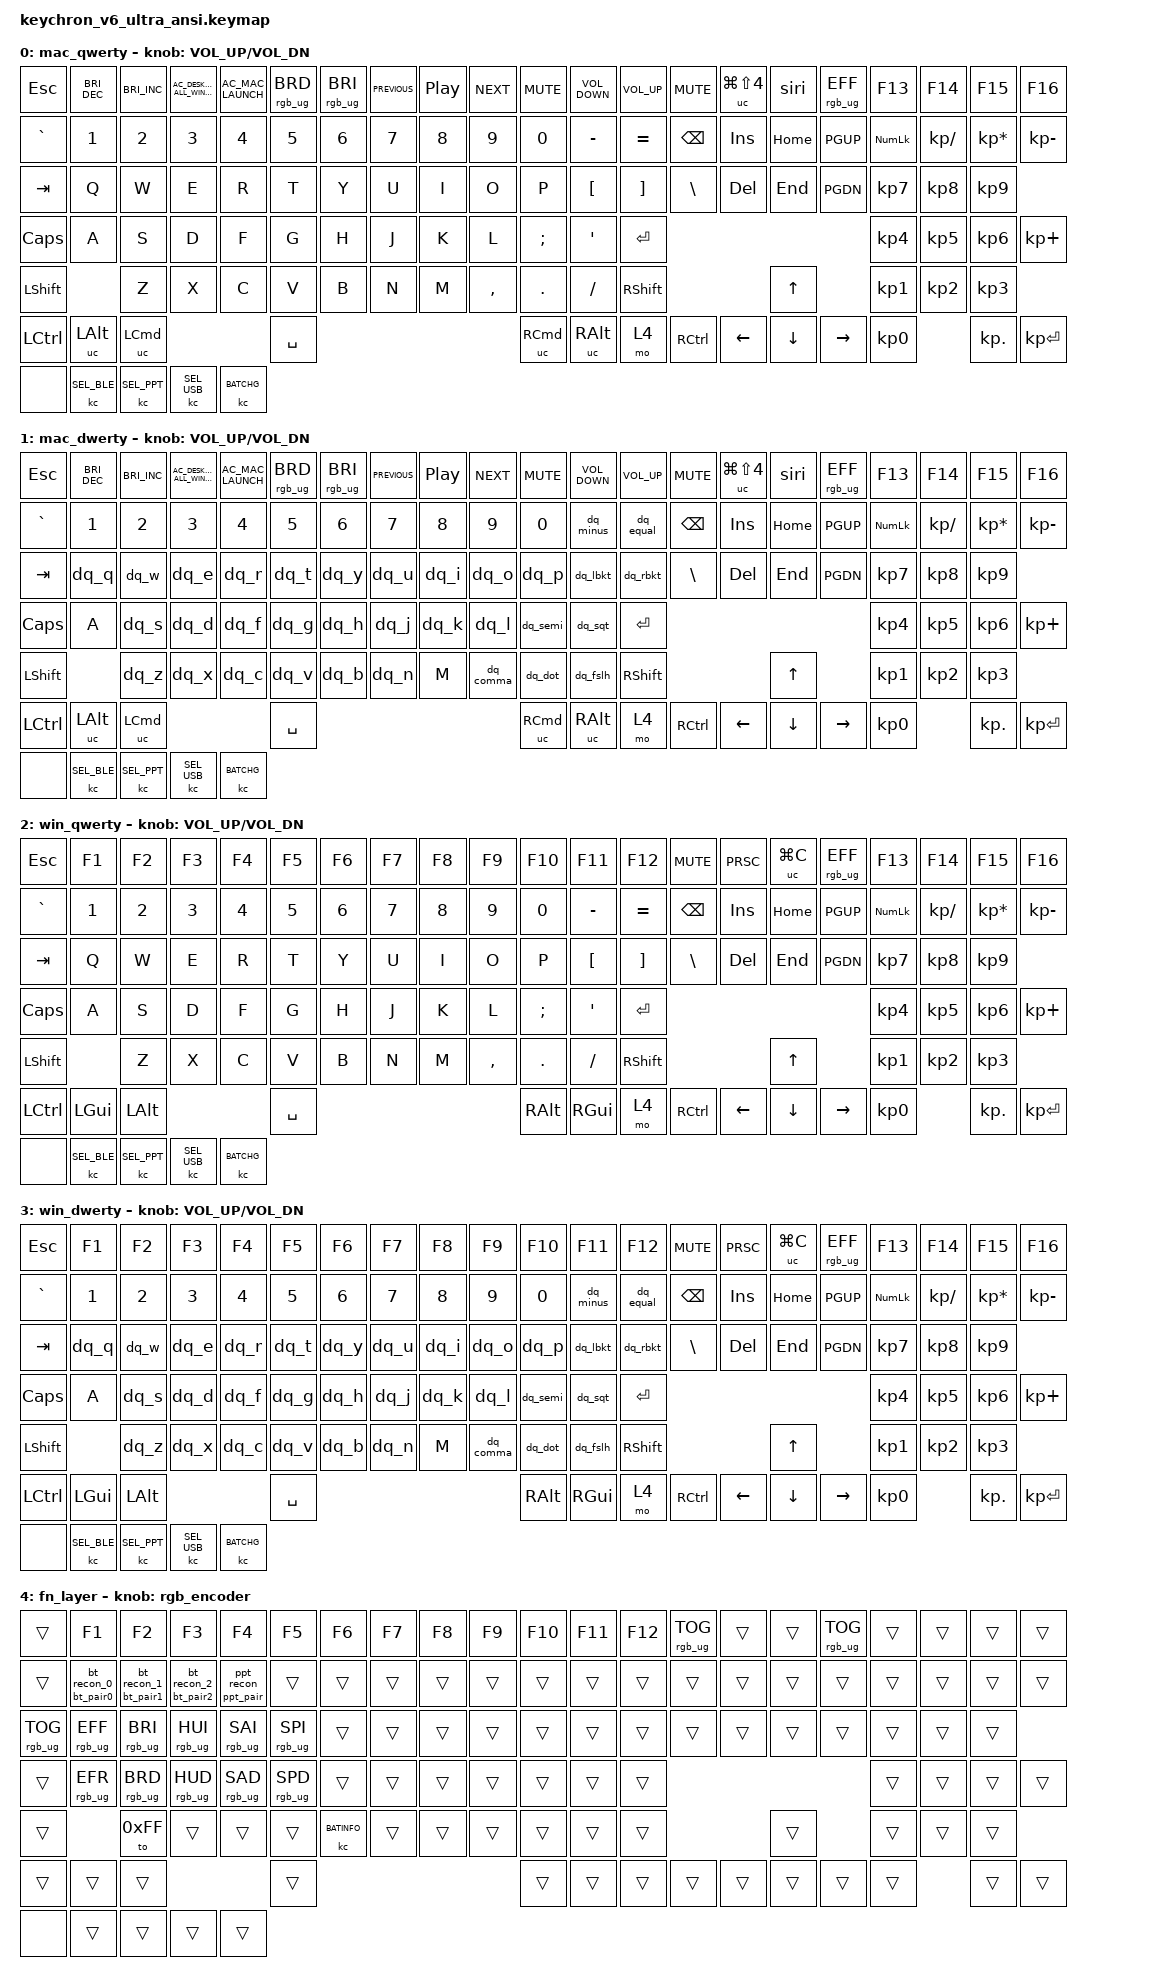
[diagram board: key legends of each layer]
/*
 * Copyright (c) 2023 The ZMK Contributors
 *
 * SPDX-License-Identifier: MIT
 */

#include <behaviors.dtsi>
#include <dt-bindings/zmk/bt.h>
#include <dt-bindings/zmk/keys.h>
#include <dt-bindings/zmk/rgb.h>
#include <dt-bindings/zmk/bt.h>
#include <dt-bindings/zmk/outputs.h>
#include <dt-bindings/zmk/keychron.h>


/ {
    behaviors {
        rgb_encoder: rgb_encoder {
            compatible = "zmk,behavior-sensor-rotate";
            #sensor-binding-cells = <0>;
            bindings = <&rgb_ug RGB_BRI>, <&rgb_ug RGB_BRD>;
            tap-ms =<20>;
        };
        mouse_encoder: mouse_encoder {
            compatible = "zmk,behavior-sensor-rotate-var";
            #sensor-binding-cells = <2>;
            bindings = <&mkp>, <&mkp>;
            tap-ms =<20>;
        };
    };
    macro1:zm_ma{
        compatible = "zmk,behavior-macro-one-param";
        #binding-cells = <1>;
        bindings=<&kp 0x770000>;
    };
    siri: siri {
        compatible = "zmk,behavior-macro";
        #binding-cells = <0>;
        bindings
        = <&macro_tap_time 500>
        , <&uc LG(SPACE)>
        ;
    };
    lm: layer_mod {
        compatible = "zmk,behavior-macro-two-param";
        wait-ms = <0>;
        tap-ms = <0>;
        #binding-cells = <2>;
        bindings
            = <&macro_param_1to1>
            , <&macro_press &mo 0>
            , <&macro_param_2to1>
            , <&macro_press &kp 0>
            , <&macro_pause_for_release>
            , <&macro_param_2to1>
            , <&macro_release &kp 0>
            , <&macro_param_1to1>
            , <&macro_release &mo 0>
            ;
    };
    td1:tapd_layer{
        compatible = "zmk,behavior-tap-dance1";
        #binding-cells = <1>;
        tapping-term-ms = <350>;
        bindings =<&mo 0>,<&mo 0>,<&mo 0>,<&mo 0>,<&to 0>;
    };

    kc_lp:l1{
        compatible = "zmk,behavior-hold-tap";
        #binding-cells = <2>;
        flavor = "tap-preferred";
        tapping-term-ms = <3000>;  // delay amount in ms
        bindings = <&kc>,<&none>;
    };

    long_press_bootloader:lp_bootloader{
        compatible = "zmk,behavior-hold-tap";
        #binding-cells = <2>;
        flavor = "tap-preferred";
        tapping-term-ms = <3000>;  // delay amount in ms
        bindings = <&bootloader>, <&none>;
    };
    // kc_nkro:kc_nkro{
    //     compatible = "zmk,behavior-hold-tap";
    //     #binding-cells = <2>;
    //     flavor = "tap-preferred";
    //     tapping-term-ms = <2000>;  // delay amount in ms
    //     bindings = <&kc NKRO>, <&none>;
    // };
    ZMK_MACRO(bt_pair0, bindings = <&kc BT_PAIR 0>;)
    ZMK_MACRO(bt_pair1, bindings = <&kc BT_PAIR 1>;)
    ZMK_MACRO(bt_pair2, bindings = <&kc BT_PAIR 2>;)
    ZMK_MACRO(ppt_pair, bindings = <&kc PPT_PAIR 0>;)
    ZMK_MACRO(bt_recon_0, bindings = <&kc BT_SEL 0>;)
    ZMK_MACRO(bt_recon_1, bindings = <&kc BT_SEL 1>;)
    ZMK_MACRO(bt_recon_2, bindings = <&kc BT_SEL 2>;)
    ZMK_MACRO(ppt_recon, bindings = <&kc PPT_SEL 0>;)



    bt_pair_0: bt_pair_0 {
        compatible = "zmk,behavior-hold-tap";

        #binding-cells = <2>;
        flavor = "tap-preferred";
        tapping-term-ms = <3000>;  // delay amount in ms
        bindings = <&bt_pair0>, <&bt_recon_0>;
    };
    bt_pair_1: bt_pair_1 {
        compatible = "zmk,behavior-hold-tap";

        #binding-cells = <2>;
        flavor = "tap-preferred";
        tapping-term-ms = <3000>;  // delay amount in ms
        bindings = <&bt_pair1>, <&bt_recon_1>;
    };
    bt_pair_2: bt_pair_2 {
        compatible = "zmk,behavior-hold-tap";

        #binding-cells = <2>;
        flavor = "tap-preferred";
        tapping-term-ms = <3000>;  // delay amount in ms
        bindings = <&bt_pair2>, <&bt_recon_2>;
    };
    ppt_pair_0: ppt_pair_0 {
        compatible = "zmk,behavior-hold-tap";

        #binding-cells = <2>;
        flavor = "tap-preferred";
        tapping-term-ms = <3000>;  // delay amount in ms
        bindings = <&ppt_pair>, <&ppt_recon>;
    };
    uc:user_custom {
        compatible = "zmk,behavior-key-press";
        #binding-cells =<1>;
    };
    combos {
        compatible = "zmk,combos";
        combo_a {
                timeout-ms = <1000>;
                layers = <4>;
                key-positions = <69 80>; //fn+j+z
                bindings = <&kc_lp RCV>;
        };
        // combo_b {v
        //         timeout-ms = <1000>;
        //         layers =< 1 3>;
        //         key-positions = <64>; //fn+b
        //         bindings = <&kc BATINFO>;
        // };
        // combo_c {
        //         timeout-ms = <1000>;
        //         layers =< 1 3>;
        //         key-positions = <58 81>; //fn+home+right
        //         bindings = <&kc_lp RGBTEST>;
        // };
         combo_t0 {
            timeout-ms = <10 >;
            layers =<4>;
            key-positions = <120>;
            bindings = <&to 3 >;
        };
        combo_t1 {
            timeout-ms = <10 >;
            layers =<4>;
            key-positions = <120>;
            bindings = <&tog 3 >;
        };
        combo_t2 {
            timeout-ms = <10 >;
            layers =<4>;
            key-positions = <120>;
            bindings = <&sl 3 >;
        };
        combo_t3 {
            timeout-ms = <10 >;
            layers =<4>;
            key-positions = <120>;
            bindings = <&lt 3 SPACE>;
        };
        combo_t4 {
            timeout-ms = <10 >;
            layers =<4>;
            key-positions = <120>;
            bindings = <&sk LSHIFT>;
        };
        combo_t5 {
            timeout-ms = <10 >;
            layers =<4>;
            key-positions = <120>;
            bindings = <&mt LSHIFT SPACE>;
        };
        combo_t6 {
            timeout-ms = <10 >;
            layers =<4>;
            key-positions = <120>;
            bindings = <&gresc>;
        };
        //  combo_t7 {
        //     timeout-ms = <10 >;
        //     layers =<4>;
        //     key-positions = <120>;
        //     bindings = <&mkp 0>;
        // };
    };
    behaviors {
        dq_q: dq_q {
            compatible = "zmk,behavior-mod-morph";
            #binding-cells = <0>;
            bindings = <&kp SQT>, <&kp Q>;
            mods = <(MOD_LCTL|MOD_RCTL|MOD_LALT|MOD_RALT|MOD_LGUI|MOD_RGUI)>;
            keep-mods = <(MOD_LCTL|MOD_RCTL|MOD_LALT|MOD_RALT|MOD_LGUI|MOD_RGUI)>;
        };
        dq_w: dq_w {
            compatible = "zmk,behavior-mod-morph";
            #binding-cells = <0>;
            bindings = <&kp COMMA>, <&kp W>;
            mods = <(MOD_LCTL|MOD_RCTL|MOD_LALT|MOD_RALT|MOD_LGUI|MOD_RGUI)>;
            keep-mods = <(MOD_LCTL|MOD_RCTL|MOD_LALT|MOD_RALT|MOD_LGUI|MOD_RGUI)>;
        };
        dq_e: dq_e {
            compatible = "zmk,behavior-mod-morph";
            #binding-cells = <0>;
            bindings = <&kp DOT>, <&kp E>;
            mods = <(MOD_LCTL|MOD_RCTL|MOD_LALT|MOD_RALT|MOD_LGUI|MOD_RGUI)>;
            keep-mods = <(MOD_LCTL|MOD_RCTL|MOD_LALT|MOD_RALT|MOD_LGUI|MOD_RGUI)>;
        };
        dq_r: dq_r {
            compatible = "zmk,behavior-mod-morph";
            #binding-cells = <0>;
            bindings = <&kp P>, <&kp R>;
            mods = <(MOD_LCTL|MOD_RCTL|MOD_LALT|MOD_RALT|MOD_LGUI|MOD_RGUI)>;
            keep-mods = <(MOD_LCTL|MOD_RCTL|MOD_LALT|MOD_RALT|MOD_LGUI|MOD_RGUI)>;
        };
        dq_t: dq_t {
            compatible = "zmk,behavior-mod-morph";
            #binding-cells = <0>;
            bindings = <&kp Y>, <&kp T>;
            mods = <(MOD_LCTL|MOD_RCTL|MOD_LALT|MOD_RALT|MOD_LGUI|MOD_RGUI)>;
            keep-mods = <(MOD_LCTL|MOD_RCTL|MOD_LALT|MOD_RALT|MOD_LGUI|MOD_RGUI)>;
        };
        dq_y: dq_y {
            compatible = "zmk,behavior-mod-morph";
            #binding-cells = <0>;
            bindings = <&kp F>, <&kp Y>;
            mods = <(MOD_LCTL|MOD_RCTL|MOD_LALT|MOD_RALT|MOD_LGUI|MOD_RGUI)>;
            keep-mods = <(MOD_LCTL|MOD_RCTL|MOD_LALT|MOD_RALT|MOD_LGUI|MOD_RGUI)>;
        };
        dq_u: dq_u {
            compatible = "zmk,behavior-mod-morph";
            #binding-cells = <0>;
            bindings = <&kp G>, <&kp U>;
            mods = <(MOD_LCTL|MOD_RCTL|MOD_LALT|MOD_RALT|MOD_LGUI|MOD_RGUI)>;
            keep-mods = <(MOD_LCTL|MOD_RCTL|MOD_LALT|MOD_RALT|MOD_LGUI|MOD_RGUI)>;
        };
        dq_i: dq_i {
            compatible = "zmk,behavior-mod-morph";
            #binding-cells = <0>;
            bindings = <&kp C>, <&kp I>;
            mods = <(MOD_LCTL|MOD_RCTL|MOD_LALT|MOD_RALT|MOD_LGUI|MOD_RGUI)>;
            keep-mods = <(MOD_LCTL|MOD_RCTL|MOD_LALT|MOD_RALT|MOD_LGUI|MOD_RGUI)>;
        };
        dq_o: dq_o {
            compatible = "zmk,behavior-mod-morph";
            #binding-cells = <0>;
            bindings = <&kp R>, <&kp O>;
            mods = <(MOD_LCTL|MOD_RCTL|MOD_LALT|MOD_RALT|MOD_LGUI|MOD_RGUI)>;
            keep-mods = <(MOD_LCTL|MOD_RCTL|MOD_LALT|MOD_RALT|MOD_LGUI|MOD_RGUI)>;
        };
        dq_p: dq_p {
            compatible = "zmk,behavior-mod-morph";
            #binding-cells = <0>;
            bindings = <&kp L>, <&kp P>;
            mods = <(MOD_LCTL|MOD_RCTL|MOD_LALT|MOD_RALT|MOD_LGUI|MOD_RGUI)>;
            keep-mods = <(MOD_LCTL|MOD_RCTL|MOD_LALT|MOD_RALT|MOD_LGUI|MOD_RGUI)>;
        };
        dq_lbkt: dq_lbkt {
            compatible = "zmk,behavior-mod-morph";
            #binding-cells = <0>;
            bindings = <&kp FSLH>, <&kp LBKT>;
            mods = <(MOD_LCTL|MOD_RCTL|MOD_LALT|MOD_RALT|MOD_LGUI|MOD_RGUI)>;
            keep-mods = <(MOD_LCTL|MOD_RCTL|MOD_LALT|MOD_RALT|MOD_LGUI|MOD_RGUI)>;
        };
        dq_rbkt: dq_rbkt {
            compatible = "zmk,behavior-mod-morph";
            #binding-cells = <0>;
            bindings = <&kp EQUAL>, <&kp RBKT>;
            mods = <(MOD_LCTL|MOD_RCTL|MOD_LALT|MOD_RALT|MOD_LGUI|MOD_RGUI)>;
            keep-mods = <(MOD_LCTL|MOD_RCTL|MOD_LALT|MOD_RALT|MOD_LGUI|MOD_RGUI)>;
        };
        dq_s: dq_s {
            compatible = "zmk,behavior-mod-morph";
            #binding-cells = <0>;
            bindings = <&kp O>, <&kp S>;
            mods = <(MOD_LCTL|MOD_RCTL|MOD_LALT|MOD_RALT|MOD_LGUI|MOD_RGUI)>;
            keep-mods = <(MOD_LCTL|MOD_RCTL|MOD_LALT|MOD_RALT|MOD_LGUI|MOD_RGUI)>;
        };
        dq_d: dq_d {
            compatible = "zmk,behavior-mod-morph";
            #binding-cells = <0>;
            bindings = <&kp E>, <&kp D>;
            mods = <(MOD_LCTL|MOD_RCTL|MOD_LALT|MOD_RALT|MOD_LGUI|MOD_RGUI)>;
            keep-mods = <(MOD_LCTL|MOD_RCTL|MOD_LALT|MOD_RALT|MOD_LGUI|MOD_RGUI)>;
        };
        dq_f: dq_f {
            compatible = "zmk,behavior-mod-morph";
            #binding-cells = <0>;
            bindings = <&kp U>, <&kp F>;
            mods = <(MOD_LCTL|MOD_RCTL|MOD_LALT|MOD_RALT|MOD_LGUI|MOD_RGUI)>;
            keep-mods = <(MOD_LCTL|MOD_RCTL|MOD_LALT|MOD_RALT|MOD_LGUI|MOD_RGUI)>;
        };
        dq_g: dq_g {
            compatible = "zmk,behavior-mod-morph";
            #binding-cells = <0>;
            bindings = <&kp I>, <&kp G>;
            mods = <(MOD_LCTL|MOD_RCTL|MOD_LALT|MOD_RALT|MOD_LGUI|MOD_RGUI)>;
            keep-mods = <(MOD_LCTL|MOD_RCTL|MOD_LALT|MOD_RALT|MOD_LGUI|MOD_RGUI)>;
        };
        dq_h: dq_h {
            compatible = "zmk,behavior-mod-morph";
            #binding-cells = <0>;
            bindings = <&kp D>, <&kp H>;
            mods = <(MOD_LCTL|MOD_RCTL|MOD_LALT|MOD_RALT|MOD_LGUI|MOD_RGUI)>;
            keep-mods = <(MOD_LCTL|MOD_RCTL|MOD_LALT|MOD_RALT|MOD_LGUI|MOD_RGUI)>;
        };
        dq_j: dq_j {
            compatible = "zmk,behavior-mod-morph";
            #binding-cells = <0>;
            bindings = <&kp H>, <&kp J>;
            mods = <(MOD_LCTL|MOD_RCTL|MOD_LALT|MOD_RALT|MOD_LGUI|MOD_RGUI)>;
            keep-mods = <(MOD_LCTL|MOD_RCTL|MOD_LALT|MOD_RALT|MOD_LGUI|MOD_RGUI)>;
        };
        dq_k: dq_k {
            compatible = "zmk,behavior-mod-morph";
            #binding-cells = <0>;
            bindings = <&kp T>, <&kp K>;
            mods = <(MOD_LCTL|MOD_RCTL|MOD_LALT|MOD_RALT|MOD_LGUI|MOD_RGUI)>;
            keep-mods = <(MOD_LCTL|MOD_RCTL|MOD_LALT|MOD_RALT|MOD_LGUI|MOD_RGUI)>;
        };
        dq_l: dq_l {
            compatible = "zmk,behavior-mod-morph";
            #binding-cells = <0>;
            bindings = <&kp N>, <&kp L>;
            mods = <(MOD_LCTL|MOD_RCTL|MOD_LALT|MOD_RALT|MOD_LGUI|MOD_RGUI)>;
            keep-mods = <(MOD_LCTL|MOD_RCTL|MOD_LALT|MOD_RALT|MOD_LGUI|MOD_RGUI)>;
        };
        dq_semi: dq_semi {
            compatible = "zmk,behavior-mod-morph";
            #binding-cells = <0>;
            bindings = <&kp S>, <&kp SEMI>;
            mods = <(MOD_LCTL|MOD_RCTL|MOD_LALT|MOD_RALT|MOD_LGUI|MOD_RGUI)>;
            keep-mods = <(MOD_LCTL|MOD_RCTL|MOD_LALT|MOD_RALT|MOD_LGUI|MOD_RGUI)>;
        };
        dq_sqt: dq_sqt {
            compatible = "zmk,behavior-mod-morph";
            #binding-cells = <0>;
            bindings = <&kp MINUS>, <&kp SQT>;
            mods = <(MOD_LCTL|MOD_RCTL|MOD_LALT|MOD_RALT|MOD_LGUI|MOD_RGUI)>;
            keep-mods = <(MOD_LCTL|MOD_RCTL|MOD_LALT|MOD_RALT|MOD_LGUI|MOD_RGUI)>;
        };
        dq_z: dq_z {
            compatible = "zmk,behavior-mod-morph";
            #binding-cells = <0>;
            bindings = <&kp SEMI>, <&kp Z>;
            mods = <(MOD_LCTL|MOD_RCTL|MOD_LALT|MOD_RALT|MOD_LGUI|MOD_RGUI)>;
            keep-mods = <(MOD_LCTL|MOD_RCTL|MOD_LALT|MOD_RALT|MOD_LGUI|MOD_RGUI)>;
        };
        dq_x: dq_x {
            compatible = "zmk,behavior-mod-morph";
            #binding-cells = <0>;
            bindings = <&kp Q>, <&kp X>;
            mods = <(MOD_LCTL|MOD_RCTL|MOD_LALT|MOD_RALT|MOD_LGUI|MOD_RGUI)>;
            keep-mods = <(MOD_LCTL|MOD_RCTL|MOD_LALT|MOD_RALT|MOD_LGUI|MOD_RGUI)>;
        };
        dq_c: dq_c {
            compatible = "zmk,behavior-mod-morph";
            #binding-cells = <0>;
            bindings = <&kp J>, <&kp C>;
            mods = <(MOD_LCTL|MOD_RCTL|MOD_LALT|MOD_RALT|MOD_LGUI|MOD_RGUI)>;
            keep-mods = <(MOD_LCTL|MOD_RCTL|MOD_LALT|MOD_RALT|MOD_LGUI|MOD_RGUI)>;
        };
        dq_v: dq_v {
            compatible = "zmk,behavior-mod-morph";
            #binding-cells = <0>;
            bindings = <&kp K>, <&kp V>;
            mods = <(MOD_LCTL|MOD_RCTL|MOD_LALT|MOD_RALT|MOD_LGUI|MOD_RGUI)>;
            keep-mods = <(MOD_LCTL|MOD_RCTL|MOD_LALT|MOD_RALT|MOD_LGUI|MOD_RGUI)>;
        };
        dq_b: dq_b {
            compatible = "zmk,behavior-mod-morph";
            #binding-cells = <0>;
            bindings = <&kp X>, <&kp B>;
            mods = <(MOD_LCTL|MOD_RCTL|MOD_LALT|MOD_RALT|MOD_LGUI|MOD_RGUI)>;
            keep-mods = <(MOD_LCTL|MOD_RCTL|MOD_LALT|MOD_RALT|MOD_LGUI|MOD_RGUI)>;
        };
        dq_n: dq_n {
            compatible = "zmk,behavior-mod-morph";
            #binding-cells = <0>;
            bindings = <&kp B>, <&kp N>;
            mods = <(MOD_LCTL|MOD_RCTL|MOD_LALT|MOD_RALT|MOD_LGUI|MOD_RGUI)>;
            keep-mods = <(MOD_LCTL|MOD_RCTL|MOD_LALT|MOD_RALT|MOD_LGUI|MOD_RGUI)>;
        };
        dq_comma: dq_comma {
            compatible = "zmk,behavior-mod-morph";
            #binding-cells = <0>;
            bindings = <&kp W>, <&kp COMMA>;
            mods = <(MOD_LCTL|MOD_RCTL|MOD_LALT|MOD_RALT|MOD_LGUI|MOD_RGUI)>;
            keep-mods = <(MOD_LCTL|MOD_RCTL|MOD_LALT|MOD_RALT|MOD_LGUI|MOD_RGUI)>;
        };
        dq_dot: dq_dot {
            compatible = "zmk,behavior-mod-morph";
            #binding-cells = <0>;
            bindings = <&kp V>, <&kp DOT>;
            mods = <(MOD_LCTL|MOD_RCTL|MOD_LALT|MOD_RALT|MOD_LGUI|MOD_RGUI)>;
            keep-mods = <(MOD_LCTL|MOD_RCTL|MOD_LALT|MOD_RALT|MOD_LGUI|MOD_RGUI)>;
        };
        dq_fslh: dq_fslh {
            compatible = "zmk,behavior-mod-morph";
            #binding-cells = <0>;
            bindings = <&kp Z>, <&kp FSLH>;
            mods = <(MOD_LCTL|MOD_RCTL|MOD_LALT|MOD_RALT|MOD_LGUI|MOD_RGUI)>;
            keep-mods = <(MOD_LCTL|MOD_RCTL|MOD_LALT|MOD_RALT|MOD_LGUI|MOD_RGUI)>;
        };
        dq_minus: dq_minus {
            compatible = "zmk,behavior-mod-morph";
            #binding-cells = <0>;
            bindings = <&kp LBKT>, <&kp MINUS>;
            mods = <(MOD_LCTL|MOD_RCTL|MOD_LALT|MOD_RALT|MOD_LGUI|MOD_RGUI)>;
            keep-mods = <(MOD_LCTL|MOD_RCTL|MOD_LALT|MOD_RALT|MOD_LGUI|MOD_RGUI)>;
        };
        dq_equal: dq_equal {
            compatible = "zmk,behavior-mod-morph";
            #binding-cells = <0>;
            bindings = <&kp RBKT>, <&kp EQUAL>;
            mods = <(MOD_LCTL|MOD_RCTL|MOD_LALT|MOD_RALT|MOD_LGUI|MOD_RGUI)>;
            keep-mods = <(MOD_LCTL|MOD_RCTL|MOD_LALT|MOD_RALT|MOD_LGUI|MOD_RGUI)>;
        };
    };

    keymap {
        compatible = "zmk,keymap";

        // Layer 0: MAC_QWERTY - stock Mac base
        mac_qwerty {
            bindings = <
          //ESC         //f1                    //f2                //f3                                    //f4                //f5                //f6            //f7            //f8                //f9        //f10       //f11               //f12               //Mute
        &kp ESC     &kp C_BRIGHTNESS_DEC    &kp C_BRIGHTNESS_INC    &kp C_AC_DESKTOP_SHOW_ALL_WINDOWS   &kp  C_AC_MAC_LAUNCH    &rgb_ug RGB_BRD     &rgb_ug RGB_BRI &kp C_PREVIOUS  &kp C_PLAY_PAUSE    &kp C_NEXT  &kp C_MUTE  &kp C_VOLUME_DOWN   &kp C_VOLUME_UP     &kp C_MUTE         &uc LG(LS(N4))       &siri               &rgb_ug RGB_EFF         &kp F13          &kp F14          &kp F15             &kp F16
        &kp GRAVE   &kp N1                  &kp N2                  &kp N3                              &kp N4                  &kp N5              &kp N6          &kp N7          &kp N8              &kp N9      &kp N0      &kp MINUS           &kp EQUAL           &kp BSPC           &kp INS              &kp HOME            &kp PGUP                &kp KP_NUMLOCK   &kp KP_SLASH     &kp KP_MULTIPLY     &kp KP_MINUS
        &kp TAB     &kp Q                   &kp W                   &kp E                               &kp R                   &kp T               &kp Y           &kp U           &kp I               &kp O       &kp P       &kp LBKT            &kp RBKT            &kp BSLH           &kp DEL              &kp END             &kp PGDN                &kp KP_N7        &kp KP_N8        &kp KP_N9
        &kp CLCK    &kp A                   &kp S                   &kp D                               &kp F                   &kp G               &kp H           &kp J           &kp K               &kp L       &kp SEMI    &kp SQT             &kp RET                                                                                                 &kp KP_N4        &kp KP_N5        &kp KP_N6           &kp KP_PLUS
        &kp LSHFT                           &kp Z                   &kp X                               &kp C                   &kp V               &kp B           &kp N           &kp M               &kp COMMA   &kp DOT     &kp FSLH            &kp RSHFT                                                   &kp UP                                      &kp KP_N1        &kp KP_N2        &kp KP_N3
        &kp LCTRL   &uc LALT                &uc LCMD                                                                            &kp SPACE                                                                           &uc RCMD    &uc RALT            &mo 4               &kp RCTRL          &kp LEFT             &kp DOWN            &kp RIGHT               &kp KP_N0                         &kp KP_DOT          &kp KP_ENTER
        //keychron control
        &none       &kc SEL_BLE              &kc SEL_PPT            &kc SEL_USB             &kc BATCHG
            >;
            sensor-bindings = <&inc_dec_kp C_VOL_UP C_VOL_DN>;
        };

        // Layer 1: MAC_DWERTY - Mac Dvorak + Qwerty-position shortcut morphs
        mac_dwerty {
            bindings = <
          //ESC         //f1                    //f2                //f3                                    //f4                //f5                //f6            //f7            //f8                //f9        //f10       //f11               //f12               //Mute
        &kp ESC     &kp C_BRIGHTNESS_DEC    &kp C_BRIGHTNESS_INC    &kp C_AC_DESKTOP_SHOW_ALL_WINDOWS   &kp  C_AC_MAC_LAUNCH    &rgb_ug RGB_BRD     &rgb_ug RGB_BRI &kp C_PREVIOUS  &kp C_PLAY_PAUSE    &kp C_NEXT  &kp C_MUTE  &kp C_VOLUME_DOWN   &kp C_VOLUME_UP     &kp C_MUTE         &uc LG(LS(N4))       &siri               &rgb_ug RGB_EFF         &kp F13          &kp F14          &kp F15             &kp F16
        &kp GRAVE   &kp N1                  &kp N2                  &kp N3                              &kp N4                  &kp N5              &kp N6          &kp N7          &kp N8              &kp N9      &kp N0      &dq_minus           &dq_equal           &kp BSPC           &kp INS              &kp HOME            &kp PGUP                &kp KP_NUMLOCK   &kp KP_SLASH     &kp KP_MULTIPLY     &kp KP_MINUS
        &kp TAB     &dq_q                   &dq_w                   &dq_e                               &dq_r                   &dq_t               &dq_y           &dq_u           &dq_i               &dq_o       &dq_p       &dq_lbkt            &dq_rbkt            &kp BSLH           &kp DEL              &kp END             &kp PGDN                &kp KP_N7        &kp KP_N8        &kp KP_N9
        &kp CLCK    &kp A                   &dq_s                   &dq_d                               &dq_f                   &dq_g               &dq_h           &dq_j           &dq_k               &dq_l       &dq_semi    &dq_sqt             &kp RET                                                                                                 &kp KP_N4        &kp KP_N5        &kp KP_N6           &kp KP_PLUS
        &kp LSHFT                           &dq_z                   &dq_x                               &dq_c                   &dq_v               &dq_b           &dq_n           &kp M               &dq_comma   &dq_dot     &dq_fslh            &kp RSHFT                                                   &kp UP                                      &kp KP_N1        &kp KP_N2        &kp KP_N3
        &kp LCTRL   &uc LALT                &uc LCMD                                                                            &kp SPACE                                                                           &uc RCMD    &uc RALT            &mo 4               &kp RCTRL          &kp LEFT             &kp DOWN            &kp RIGHT               &kp KP_N0                         &kp KP_DOT          &kp KP_ENTER
        //keychron control
        &none       &kc SEL_BLE              &kc SEL_PPT            &kc SEL_USB             &kc BATCHG
            >;
            sensor-bindings = <&inc_dec_kp C_VOL_UP C_VOL_DN>;
        };

        // Layer 2: WIN_QWERTY - stock Win base
        win_qwerty {
            bindings = <
        &kp ESC     &kp F1                 &kp F2                   &kp F3                              &kp F4                  &kp F5              &kp F6          &kp F7          &kp F8              &kp F9       &kp F10    &kp F11              &kp F12             &kp C_MUTE      &kp PRSC   &uc LG(C)     &rgb_ug RGB_EFF         &kp F13          &kp F14          &kp F15             &kp F16
        &kp GRAVE   &kp N1                 &kp N2                   &kp N3                              &kp N4                  &kp N5              &kp N6          &kp N7          &kp N8              &kp N9       &kp N0     &kp MINUS            &kp EQUAL           &kp BSPC        &kp INS    &kp HOME      &kp PGUP                &kp KP_NUMLOCK   &kp KP_SLASH     &kp KP_MULTIPLY     &kp KP_MINUS
        &kp TAB     &kp Q                  &kp W                    &kp E                               &kp R                   &kp T               &kp Y           &kp U           &kp I               &kp O        &kp P      &kp LBKT             &kp RBKT            &kp BSLH        &kp DEL    &kp END       &kp PGDN                &kp KP_N7        &kp KP_N8        &kp KP_N9
        &kp CLCK    &kp A                  &kp S                    &kp D                               &kp F                   &kp G               &kp H           &kp J           &kp K               &kp L        &kp SEMI   &kp SQT              &kp RET                                                                              &kp KP_N4        &kp KP_N5        &kp KP_N6           &kp KP_PLUS
        &kp LSHFT                          &kp Z                    &kp X                               &kp C                   &kp V               &kp B           &kp N           &kp M               &kp COMMA    &kp DOT    &kp FSLH             &kp RSHFT                                      &kp UP                                &kp KP_N1        &kp KP_N2        &kp KP_N3
        &kp LCTRL   &kp LGUI               &kp LALT                                                                             &kp SPACE                                                                            &kp RALT   &kp RGUI             &mo 4               &kp RCTRL       &kp LEFT   &kp DOWN      &kp RIGHT               &kp KP_N0                         &kp KP_DOT          &kp KP_ENTER
        //keychron control
        &none       &kc SEL_BLE              &kc SEL_PPT            &kc SEL_USB             &kc BATCHG
        >;
            sensor-bindings = <&inc_dec_kp C_VOL_UP C_VOL_DN>;
        };

        // Layer 3: WIN_DWERTY - Win Dvorak + Qwerty-position shortcut morphs
        win_dwerty {
            bindings = <
        &kp ESC     &kp F1                 &kp F2                   &kp F3                              &kp F4                  &kp F5              &kp F6          &kp F7          &kp F8              &kp F9       &kp F10    &kp F11              &kp F12             &kp C_MUTE      &kp PRSC   &uc LG(C)     &rgb_ug RGB_EFF         &kp F13          &kp F14          &kp F15             &kp F16
        &kp GRAVE   &kp N1                 &kp N2                   &kp N3                              &kp N4                  &kp N5              &kp N6          &kp N7          &kp N8              &kp N9       &kp N0     &dq_minus            &dq_equal           &kp BSPC        &kp INS    &kp HOME      &kp PGUP                &kp KP_NUMLOCK   &kp KP_SLASH     &kp KP_MULTIPLY     &kp KP_MINUS
        &kp TAB     &dq_q                  &dq_w                    &dq_e                               &dq_r                   &dq_t               &dq_y           &dq_u           &dq_i               &dq_o        &dq_p      &dq_lbkt             &dq_rbkt            &kp BSLH        &kp DEL    &kp END       &kp PGDN                &kp KP_N7        &kp KP_N8        &kp KP_N9
        &kp CLCK    &kp A                  &dq_s                    &dq_d                               &dq_f                   &dq_g               &dq_h           &dq_j           &dq_k               &dq_l        &dq_semi   &dq_sqt              &kp RET                                                                              &kp KP_N4        &kp KP_N5        &kp KP_N6           &kp KP_PLUS
        &kp LSHFT                          &dq_z                    &dq_x                               &dq_c                   &dq_v               &dq_b           &dq_n           &kp M               &dq_comma    &dq_dot    &dq_fslh             &kp RSHFT                                      &kp UP                                &kp KP_N1        &kp KP_N2        &kp KP_N3
        &kp LCTRL   &kp LGUI               &kp LALT                                                                             &kp SPACE                                                                            &kp RALT   &kp RGUI             &mo 4               &kp RCTRL       &kp LEFT   &kp DOWN      &kp RIGHT               &kp KP_N0                         &kp KP_DOT          &kp KP_ENTER
        //keychron control
        &none       &kc SEL_BLE              &kc SEL_PPT            &kc SEL_USB             &kc BATCHG
        >;
            sensor-bindings = <&inc_dec_kp C_VOL_UP C_VOL_DN>;
        };

        // Layer 4: FN - stock RGB/BT/media overlay, shared by both OS halves
        fn_layer {
            bindings = <&trans &kp F1 &kp F2 &kp F3 &kp F4 &kp F5 &kp F6 &kp F7 &kp F8 &kp F9 &kp F10 &kp F11 &kp F12 &rgb_ug RGB_TOG &trans &trans &rgb_ug RGB_TOG &trans &trans &trans &trans &trans &bt_pair_0 0 0 &bt_pair_1 0 0 &bt_pair_2 0 0 &ppt_pair_0 0 0 &trans &trans &trans &trans &trans &trans &trans &trans &trans &trans &trans &trans &trans &trans &trans &trans &rgb_ug RGB_TOG &rgb_ug RGB_EFF &rgb_ug RGB_BRI &rgb_ug RGB_HUI &rgb_ug RGB_SAI &rgb_ug RGB_SPI &trans &trans &trans &trans &trans &trans &trans &trans &trans &trans &trans &trans &trans &trans &trans &rgb_ug RGB_EFR &rgb_ug RGB_BRD &rgb_ug RGB_HUD &rgb_ug RGB_SAD &rgb_ug RGB_SPD &trans &trans &trans &trans &trans &trans &trans &trans &trans &trans &trans &trans &to 0xFF &trans &trans &trans &kc BATINFO &trans &trans &trans &trans &trans &trans &trans &trans &trans &trans &trans &trans &trans &trans &trans &trans &trans &trans &trans &trans &trans &trans &trans &trans &none &trans &trans &trans &trans>;
            sensor-bindings = <&rgb_encoder>;
        };
    };
};
&mt {
    tapping-term-ms = <400>;
};
&inc_dec_kp {
    tap-ms=<20>;
};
